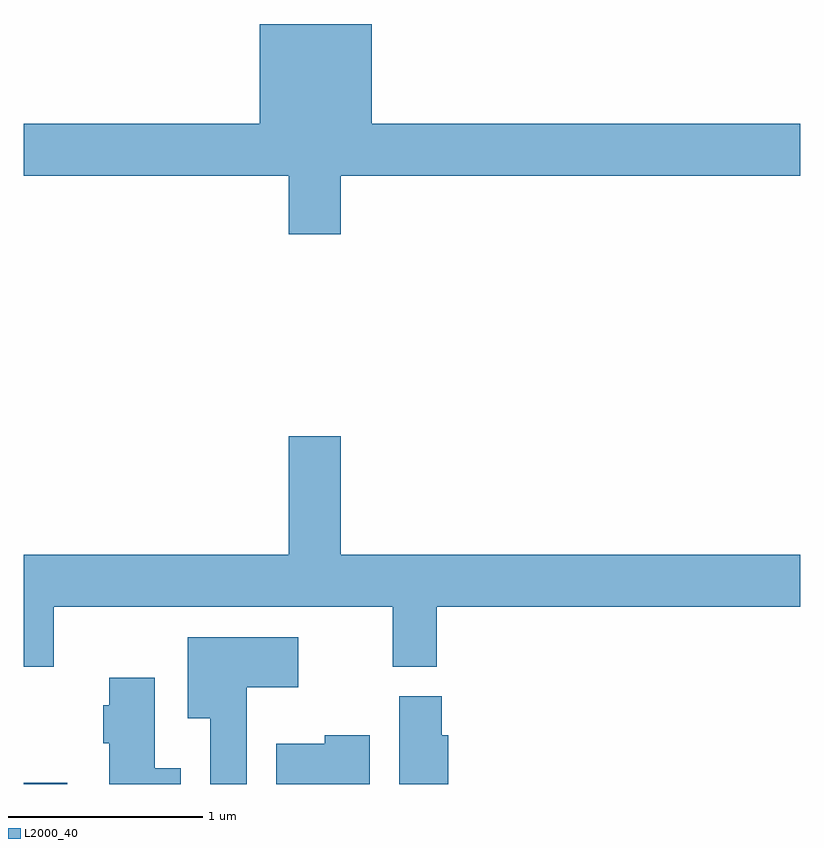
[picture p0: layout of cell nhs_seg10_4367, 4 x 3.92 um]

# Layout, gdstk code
import gdstk
lib = gdstk.Library(unit=1e-6, precision=1e-09)
def R(c, l, rs):  # rectangles x0, y0, x1, y1
    for r in rs: c.add(gdstk.rectangle(r[:2], r[2:], *l))
def P(c, l, *ps):  # polygons
    for p in ps: c.add(gdstk.Polygon(p, *l))
L2000_40 = (2000, 40)

nhs_seg10_4367 = lib.new_cell('nhs_seg10_4367')
R(nhs_seg10_4367, L2000_40, [(313.611,2148.522,313.834,2148.529)])
P(nhs_seg10_4367, L2000_40, [(315.244,2151.656),(317.611,2151.656),(317.611,2151.924),(315.404,2151.924),(315.404,2152.439),(314.826,2152.439),(314.826,2151.924),(313.611,2151.924),(313.611,2151.656),(314.976,2151.656),(314.976,2151.356),(315.244,2151.356)],
  [(313.764,2149.436),(315.511,2149.436),(315.511,2149.126),(315.739,2149.126),(315.739,2149.436),(317.611,2149.436),(317.611,2149.704),(315.244,2149.704),(315.244,2150.314),(314.976,2150.314),(314.976,2149.704),(313.611,2149.704),(313.611,2149.126),(313.764,2149.126)],
  [(314.759,2149.021),(315.024,2149.021),(315.024,2149.279),(314.456,2149.279),(314.456,2148.861),(314.571,2148.861),(314.571,2148.522),(314.759,2148.522)],
  [(314.419,2148.604),(314.284,2148.604),(314.284,2149.069),(314.051,2149.069),(314.051,2148.929),(314.021,2148.929),(314.021,2148.731),(314.051,2148.731),(314.051,2148.522),(314.419,2148.522)],
  [(315.799,2148.774),(315.764,2148.774),(315.764,2148.974),(315.546,2148.974),(315.546,2148.522),(315.799,2148.522)],
  [(315.394,2148.774),(315.161,2148.774),(315.161,2148.729),(314.911,2148.729),(314.911,2148.522),(315.394,2148.522)])

lib.write_gds('nhs_seg10_4367.gds')
